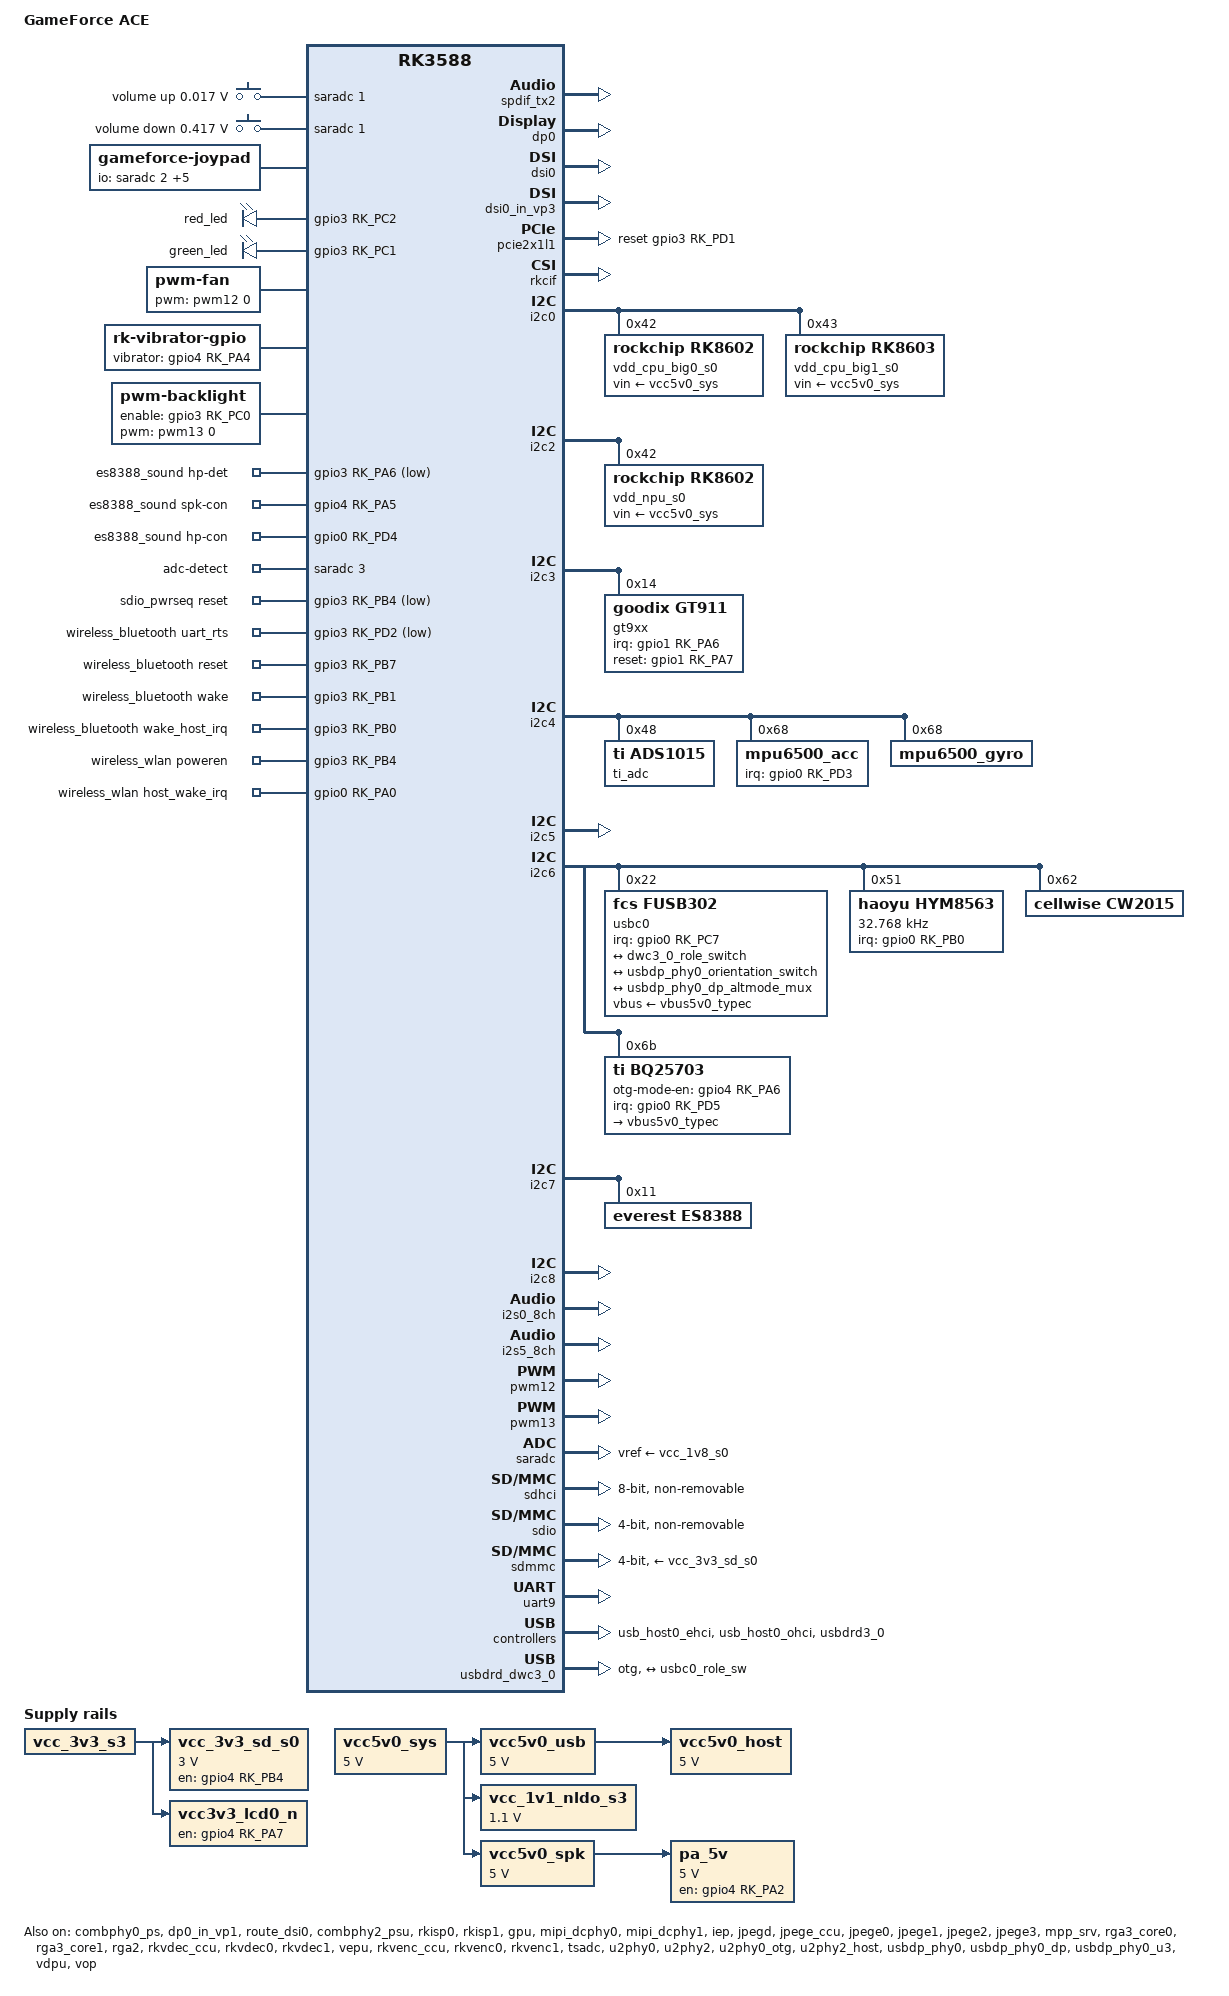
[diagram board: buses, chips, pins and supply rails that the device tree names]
// SPDX-License-Identifier: (GPL-2.0+ OR MIT)
/*
 * Copyright (c) 2021 Rockchip Electronics Co., Ltd.
 * Copyright (c) 2024 Romain Tisserand (https://github.com/rtissera)
 * Copyright (c) 2024 r3claimer (https://github.com/r3claimer)
 * Copyright (c) 2024 Juliano Dorigão (https://github.com/jdorigao)
 *
 */

/dts-v1/;

#include <dt-bindings/usb/pd.h>
#include <dt-bindings/gpio/gpio.h>
#include <dt-bindings/pwm/pwm.h>
#include <dt-bindings/pinctrl/rockchip.h>
#include <dt-bindings/input/rk-input.h>
#include <dt-bindings/display/drm_mipi_dsi.h>
#include <dt-bindings/display/rockchip_vop.h>
#include <dt-bindings/sensor-dev.h>
#include "rockchip/rk3588s.dtsi"
#include "rockchip/rk3588-linux.dtsi"
#include "rockchip/rk3588-rk806-single.dtsi"
#include "rockchip/lcd-hx8399c_mipi.dtsi"

/ {
	model = "GameForce ACE";
	compatible = "gameforce,ace", "rockchip,rk3588";

	adc_keys: adc-keys {
		compatible = "adc-keys";
		io-channels = <&saradc 1>;
		io-channel-names = "buttons";
		keyup-threshold-microvolt = <1800000>;
		poll-interval = <100>;

		vol-up-key {
			label = "volume up";
			linux,code = <KEY_VOLUMEUP>;
			press-threshold-microvolt = <17000>;
		};

		vol-down-key {
			label = "volume down";
			linux,code = <KEY_VOLUMEDOWN>;
			press-threshold-microvolt = <417000>;
		};
	};

	joypad: gameforce-ace-joypad {
		compatible = "gameforce-joypad";
		poll-interval = <10>;
		status = "okay";

		joypad-name = "GameForce ACE Gamepad";
		joypad-product = <0x1000>;
		joypad-revision = <0x0100>;

		/* Analog sticks */
		io-channels = <&saradc 2>, <&saradc 3>, <&saradc 4>, <&saradc 5>, <&ti_adc 6>, <&ti_adc 7>;
		io-channel-names = "key-RY", "key-RX", "key-X", "key-Y", "key-Z", "key-RZ";
		button-adc-scale = <4>;
		button-adc-deadzone = <125>;
		button-adc-fuzz = <32>;
		button-adc-flat = <32>;
		abs_x-p-tuning = <350>;
		abs_x-n-tuning = <350>;
		abs_y-p-tuning = <350>;
		abs_y-n-tuning = <350>;
		abs_z-p-tuning = <350>;
		abs_z-n-tuning = <350>;
		abs_rx-p-tuning = <350>;
		abs_rx-n-tuning = <350>;
		abs_ry-p-tuning = <350>;
		abs_ry-n-tuning = <350>;
		abs_rz-p-tuning = <350>;
		abs_rz-n-tuning = <350>;

		/* Buttons */
		sw1 {
			gpios = <&gpio1 RK_PA0 0x01>;
			label = "GPIO Key MODE";
			linux,code = <BTN_MODE>;
		};
		sw2 {
			gpios = <&gpio1 RK_PB0 0x01>;
			label = "GPIO Key HOME";
			linux,code = <BTN_C>;
		};
		sw3 {
			gpios = <&gpio1 RK_PB6 0x01>;
			label = "GPIO Key START";
			linux,code = <BTN_START>;
		};
		sw4 {
			gpios = <&gpio1 RK_PA3 0x01>;
			label = "GPIO Key SELECT";
			linux,code = <BTN_SELECT>;
		};
		sw5 {
			gpios = <&gpio1 RK_PA2 0x01>;
			label = "GPIO Key Up";
			linux,code = <BTN_DPAD_UP>;
		};
		sw6 {
			gpios =  <&gpio1 RK_PB1 0x01>;
			label = "GPIO Key Down";
			linux,code = <BTN_DPAD_DOWN>;
		};
		sw7 {
			gpios = <&gpio1 RK_PD7 0x01>;
			label = "GPIO Key Left";
			linux,code = <BTN_DPAD_LEFT>;
		};
		sw8 {
			gpios = <&gpio1 RK_PB7 0x01>;
			label = "GPIO Key Right";
			linux,code = <BTN_DPAD_RIGHT>;
		};
		sw9 {
			gpios = <&gpio1 RK_PB4 0x01>;
			label = "GPIO Key X";
			linux,code = <BTN_NORTH>;
		};
		sw10 {
			gpios = <&gpio1 RK_PB3 0x01>;
			label = "GPIO Key Y";
			linux,code = <BTN_WEST>;
		};
		sw11 {
			gpios = <&gpio1 RK_PC6 0x01>;
			label = "GPIO Key B";
			linux,code = <BTN_EAST>;
		};
		sw12 {
			gpios = <&gpio1 RK_PA5 0x01>;
			label = "GPIO Key A";
			linux,code = <BTN_SOUTH>;
		};
		sw13 {
			gpios = <&gpio1 RK_PA4 0x01>;
			label = "GPIO Key THU";
			linux,code = <BTN_THUMBL>;
		};
		sw14 {
			gpios = <&gpio1 RK_PB5 0x01>;
			label = "GPIO Key TL";
			linux,code = <BTN_TL>;
		};
		sw15 {
			gpios = <&gpio1 RK_PB2 0x01>;
			label = "GPIO Key TR";
			linux,code = <BTN_TR>;
		};
		sw16 {
			gpios = <&gpio1 RK_PD6 0x01>;
			label = "GPIO Key THUMBR";
			linux,code = <BTN_THUMBR>;
		};
	};

	leds: gpio-leds {
		compatible = "gpio-leds";
		pinctrl-names = "default";
		pinctrl-0 =<&leds_rgb>;
		status = "okay";

		red_led@1 {
			gpios = <&gpio3 RK_PC2 GPIO_ACTIVE_HIGH>;
			label = "red_led";
			linux,default-trigger = "cw2015-battery-charging";
			linux,default-trigger-delay-ms = <0>;
		};

		green_led@2 {
			gpios = <&gpio3 RK_PC1 GPIO_ACTIVE_HIGH>;
			label = "green_led";
			linux,default-trigger = "cw2015-battery-full";
			linux,default-trigger-delay-ms = <0>;
		};
	};

	fan: pwm-fan {
		compatible = "pwm-fan";
		#cooling-cells = <2>;
		pwms = <&pwm12 0 50000 1>;
		cooling-levels = <0 100 150 200 255>;
		rockchip,temp-trips = <
			40000	1
			55000	2
			60000	3
			70000	4
		>;
		status = "okay";
	};

	vibrator {
		compatible = "rk-vibrator-gpio";
		vibrator-gpio = <&gpio4 RK_PA4 GPIO_ACTIVE_HIGH>;
		status = "okay";
	};

	hdmi0_sound: hdmi0-sound {
		status = "disabled";
		compatible = "rockchip,hdmi";
		rockchip,mclk-fs = <128>;
		rockchip,card-name = "rockchip-hdmi0";
		rockchip,cpu = <&i2s5_8ch>;
		rockchip,codec = <&hdmi0>;
		rockchip,jack-det;
	};

	dp0_sound: dp0-sound {
		status = "disabled";
		compatible = "rockchip,hdmi";
		rockchip,card-name= "rockchip-dp0";
		rockchip,mclk-fs = <512>;
		rockchip,cpu = <&spdif_tx2>;
		rockchip,codec = <&dp0 1>;
		rockchip,jack-det;
	};

	backlight: backlight {
		compatible = "pwm-backlight";
		pwms = <&pwm13 0 25000 1>;
		brightness-levels = <
			 0   1   2   3   4   5   6   7
			 8   9  10  11  12  13  14  15
			16  17  18  19  20  21  22  23
			24  25  26  27  28  29  30  31
			32  33  34  35  36  37  38  39
			40  41  42  43  44  45  46  47
			48  49  50  51  52  53  54  55
			56  57  58  59  60  61  62  63
			64  65  66  67  68  69  70  71
			72  73  74  75  76  77  78  79
			80  81  82  83  84  85  86  87
			88  89  90  91  92  93  94  95
			96  97  98  99 100 101 102 103
			104 105 106 107 108 109 110 111
			112 113 114 115 116 117 118 119
			120 121 122 123 124 125 126 127
			128 129 130 131 132 133 134 135
			136 137 138 139 140 141 142 143
			144 145 146 147 148 149 150 151
			152 153 154 155 156 157 158 159
			160 161 162 163 164 165 166 167
			168 169 170 171 172 173 174 175
			176 177 178 179 180 181 182 183
			184 185 186 187 188 189 190 191
			192 193 194 195 196 197 198 199
			200 201 202 203 204 205 206 207
			208 209 210 211 212 213 214 215
			216 217 218 219 220 221 222 223
			224 225 226 227 228 229 230 231
			232 233 234 235 236 237 238 239
			240 241 242 243 244 245 246 247
			248 249 250 251 252 253 254 255>;
		default-brightness-level = <200>;
		enable-gpios = <&gpio3 RK_PC0 GPIO_ACTIVE_HIGH>;
		pinctrl-names = "default";
		pinctrl-0 = <&lcd_bl_en>;

	};

	charge-animation {
		compatible = "rockchip,uboot-charge";
		rockchip,uboot-charge-on = <0>;
		rockchip,android-charge-on = <1>;
		rockchip,uboot-low-power-voltage = <6800>;
		rockchip,screen-on-voltage = <6900>;
		rockchip,uboot-exit-charge-level = <2>;
		rockchip,uboot-exit-charge-auto = <0>;
		rockchip,system-suspend = <1>;
		regulator-on-in-mem = <&vdd_log_s0>, <&vcc_2v0_pldo_s3>,
			<&vdd2_ddr_s3>, <&vcc_1v8_s3>, <&avcc_1v8_s0>,
			<&vcc_1v8_s0>, <&vdd_0v75_s3>, <&pldo6_s3>,
			<&vcc_3v3_s3>;

		regulator-off-in-mem = <&vdd_gpu_s0>, <&vdd_npu_s0>,
			<&vdd_vdenc_s0>, <&vdd_gpu_mem_s0>, <&vdd_npu_mem_s0>,
			<&vdd_vdenc_mem_s0>, <&vcc_3v3_s0>,
			<&vccio_sd_s0>, <&avdd_0v75_s0>, <&vdd_0v85_s0>,
			<&vdd_cpu_big1_s0>, <&vdd_cpu_big0_s0>, <&vdd_cpu_lit_s0>,
			<&vdd_cpu_big1_mem_s0>, <&vdd_cpu_big0_mem_s0>, <&vdd_cpu_lit_mem_s0>,
			<&vddq_ddr_s0>, <&vdd_ddr_s0>, <&vdd_ddr_pll_s0>,
			<&avdd_1v2_s0>, <&vdd_0v75_s0>;
		status = "okay";
	};

	es8388_sound: es8388-sound {
		status = "okay";
		compatible = "rockchip,multicodecs-card","everest,es8388";
		rockchip,card-name = "rockchip,es8388-codec";
		hp-det-gpio = <&gpio3 RK_PA6 GPIO_ACTIVE_LOW>;
		io-channels = <&saradc 3>;
		io-channel-names = "adc-detect";
		keyup-threshold-microvolt = <1800000>;
		poll-interval = <100>;
		spk-con-gpio = <&gpio4 RK_PA5 GPIO_ACTIVE_HIGH>;
		hp-con-gpio = <&gpio0 RK_PD4 GPIO_ACTIVE_HIGH>;
		rockchip,format = "i2s";
		rockchip,mclk-fs = <256>;
		rockchip,cpu = <&i2s0_8ch>;
		rockchip,codec = <&es8388>;
		spk-volume = <50>;
		spk-volume-l = <50>;
		spk-volume-r = <50>;
        use-ext-amplifier;
		hp-volume = <20>;
		out-l2spk-r2hp;

		rockchip,audio-routing =
			"Headphone", "LOUT1",
			"Headphone", "ROUT1",
			"Speaker", "LOUT2",
			"Speaker", "ROUT2",
			"Headphone", "Headphone Power",
			"Headphone", "Headphone Power",
			"Speaker", "Speaker Power",
			"Speaker", "Speaker Power",
			"LINPUT1", "Main Mic",
			"LINPUT2", "Main Mic",
			"RINPUT1", "Headset Mic",
			"RINPUT2", "Headset Mic";

		pinctrl-names = "default";
		pinctrl-0 = <&hp_det>;
		play-pause-key {
			label = "playpause";
			linux,code = <KEY_PLAYPAUSE>;
			press-threshold-microvolt = <2000>;
		};
	};

	sdio_pwrseq: sdio-pwrseq {
		compatible = "mmc-pwrseq-simple";
		clocks = <&hym8563>;
		clock-names = "ext_clock";
		pinctrl-names = "default";
		pinctrl-0 = <&wifi_enable_h>;
		/*
		 * On the module itself this is one of these (depending
		 * on the actual card populated):
		 * - SDIO_RESET_L_WL_REG_ON
		 * - PDN (power down when low)
		 */
		reset-gpios = <&gpio3 RK_PB4 GPIO_ACTIVE_LOW>;
	};

	vcc5v0_sys: vcc5v0-sys {
		compatible = "regulator-fixed";
		regulator-name = "vcc5v0_sys";
		regulator-always-on;
		regulator-boot-on;
		regulator-min-microvolt = <5000000>;
		regulator-max-microvolt = <5000000>;
	};

	vcc5v0_usb: vcc5v0-usb {
		compatible = "regulator-fixed";
		regulator-name = "vcc5v0_usb";
		regulator-always-on;
		regulator-boot-on;
		regulator-min-microvolt = <5000000>;
		regulator-max-microvolt = <5000000>;
		enable-active-high;
		vin-supply = <&vcc5v0_sys>;
	};

	vcc_1v1_nldo_s3: vcc-1v1-nldo-s3 {
		compatible = "regulator-fixed";
		regulator-name = "vcc_1v1_nldo_s3";
		regulator-always-on;
		regulator-boot-on;
		regulator-min-microvolt = <1100000>;
		regulator-max-microvolt = <1100000>;
		vin-supply = <&vcc5v0_sys>;
	};

	vcc_3v3_sd_s0: vcc-3v3-sd-s0-regulator {
		compatible = "regulator-fixed";
		enable-active-high;
		gpio = <&gpio4 RK_PB4 GPIO_ACTIVE_HIGH>;
		pinctrl-names = "default";
		pinctrl-0 = <&sd_s0_pwr>;
		regulator-always-on;
		regulator-max-microvolt = <3000000>;
		regulator-min-microvolt = <3000000>;
		regulator-name = "vcc_3v3_sd_s0";
		vin-supply = <&vcc_3v3_s3>;
	};

	vcc5v0_host: vcc5v0-host {
		compatible = "regulator-fixed";
		regulator-name = "vcc5v0_host";
		regulator-boot-on;
		regulator-always-on;
		regulator-min-microvolt = <5000000>;
		regulator-max-microvolt = <5000000>;
		enable-active-high;
		// gpio = <&gpio4 RK_PB5 GPIO_ACTIVE_HIGH>;
		vin-supply = <&vcc5v0_usb>;
		// pinctrl-names = "default";
		// pinctrl-0 = <&vcc5v0_host_en>;
	};

	vcc5v0_spk: vcc5v0-spk {
		compatible = "regulator-fixed";
		regulator-name = "vcc5v0_spk";
		regulator-always-on;
		regulator-boot-on;
		regulator-min-microvolt = <5000000>;
		regulator-max-microvolt = <5000000>;
		enable-active-high;
		vin-supply = <&vcc5v0_sys>;
	};

	vcc3v3_lcd0_n: vcc3v3-lcd0-n {
		compatible = "regulator-fixed";
		regulator-name = "vcc3v3_lcd0_n";
		regulator-boot-on;
		enable-active-high;
		gpio = <&gpio4 RK_PA7 GPIO_ACTIVE_HIGH>;
		vin-supply = <&vcc_3v3_s3>;
	};

	pa_5v: pa-5v {
		compatible = "regulator-fixed";
		regulator-name = "pa_5v";
		regulator-boot-on;
		regulator-always-on;
		regulator-min-microvolt = <5000000>;
		regulator-max-microvolt = <5000000>;
		enable-active-high;
		gpio = <&gpio4 RK_PA2 GPIO_ACTIVE_HIGH>;
		vin-supply = <&vcc5v0_spk>;
		pinctrl-names = "default";
		pinctrl-0 = <&pa_5v_en>;
	};

	// vcc_mipidcphy: vcc-mipidcphy-regulator {
	// 	compatible = "regulator-fixed";
	// 	gpio = <&gpio1 RK_PA4 GPIO_ACTIVE_HIGH>;
	// 	pinctrl-names = "default";
	// 	pinctrl-0 = <&mipidcphy_pwr>;
	// 	regulator-name = "vcc_mipidcphy";
	// 	enable-active-high;
	// 	regulator-boot-on;
	// 	vin-supply = <&vcc_3v3_s3>;
	// 	status = "okay";
	// };

	wireless_bluetooth: wireless-bluetooth {
		compatible = "bluetooth-platdata";
		clocks = <&hym8563>;
		clock-names = "ext_clock";
		uart_rts_gpios = <&gpio3 RK_PD2 GPIO_ACTIVE_LOW>;
		pinctrl-names = "default", "rts_gpio";
		pinctrl-0 = <&uart9m2_rtsn>, <&bt_reset_gpio>, <&bt_wake_gpio>, <&bt_wake_host_irq>;
		pinctrl-1 = <&uart9_gpios>;
		BT,reset_gpio    = <&gpio3 RK_PB7 GPIO_ACTIVE_HIGH>;
		BT,wake_gpio     = <&gpio3 RK_PB1 GPIO_ACTIVE_HIGH>;
		BT,wake_host_irq = <&gpio3 RK_PB0 GPIO_ACTIVE_HIGH>;
		status = "okay";
	};

	wireless_wlan: wireless-wlan {
		compatible = "wlan-platdata";
		wifi_chip_type = "ap6256";
		pinctrl-names = "default";
		pinctrl-0 = <&wifi_host_wake_irq>;
		WIFI,poweren_gpio = <&gpio3 RK_PB4 GPIO_ACTIVE_HIGH>;
		WIFI,host_wake_irq = <&gpio0 RK_PA0 GPIO_ACTIVE_HIGH>;
		status = "okay";
	};
};

&av1d_mmu {
	status = "okay";
};

&combphy0_ps {
	status = "okay";
};

&cpu_l0 {
	cpu-supply = <&vdd_cpu_lit_s0>;
	mem-supply = <&vdd_cpu_lit_mem_s0>;
};

&cpu_b0 {
	cpu-supply = <&vdd_cpu_big0_s0>;
	mem-supply = <&vdd_cpu_big0_mem_s0>;
};

&cpu_b2 {
	cpu-supply = <&vdd_cpu_big1_s0>;
	mem-supply = <&vdd_cpu_big1_mem_s0>;
};

&hdmi0 {
    enable-gpios = <&gpio4 RK_PB3 GPIO_ACTIVE_HIGH>;
    status = "disabled";
};

&hdmi0_in_vp0 {
    status = "disabled";
};

&hdmi0_sound {
    status = "disabled";
};

&hdptxphy_hdmi0 {
    status = "disabled";
};

&route_hdmi0 {
    status = "disabled";
    connect = <&vp0_out_hdmi0>;
};

&spdif_tx2{
    status = "okay";
};

&dp0_sound{
    status = "disabled";
};

&dp0 {
    status = "okay";
};

&dp0_in_vp1 {
    status = "okay";
};

&dsi0 {
	status = "okay";
};

&dsi0_in_vp3 {
	status = "okay";
};

&route_dsi0 {
	status = "okay";
};

&dsi0_panel {
	power-supply = <&vcc3v3_lcd0_n>;
	reset-gpios = <&gpio1 RK_PD5 GPIO_ACTIVE_LOW>;
	pinctrl-names = "default";
	pinctrl-0 = <&lcd_rst_gpio>;
};

&pcie2x1l1 {
	reset-gpios = <&gpio3 RK_PD1 GPIO_ACTIVE_HIGH>;
	status = "okay";
};

&combphy2_psu {
        status = "okay";
};

&csi2_dphy0_hw {
	status = "disabled";
};

&csi2_dcphy0 {
	status = "disabled";
};

&mipi0_csi2 {
	status = "disabled";
};

&rkcif_mipi_lvds {
	status = "disabled";
};

&rkcif_mipi_lvds_sditf {
	status = "disabled";
};

&rkisp0_vir0 {
	status = "disabled";
};

&csi2_dcphy1 {
	status = "disabled";
};

&mipi1_csi2{
	status = "disabled";
};

&rkcif_mipi_lvds1 {
	status = "disabled";
};

&rkcif_mipi_lvds1_sditf {
	status = "disabled";
};


&rkisp0_vir1 {
	status = "disabled";
};

&csi2_dphy0 {
	status = "disabled";
};

&mipi2_csi2 {
	status = "disabled";
};

&rkcif_mipi_lvds2 {
	status = "disabled";
};

&rkcif_mipi_lvds2_sditf {
	status = "disabled";
};

&rkisp1_vir1 {
	status = "disabled";
};

&rkcif {
	status = "okay";
};

&rkcif_mmu {
	status = "okay";
};

&rkisp0 {
	status = "okay";
};

&rkisp1 {
	status = "okay";
};

&isp0_mmu {
	status = "okay";
};

&isp1_mmu {
	status = "okay";
};

&dp0 {
	status = "okay";

};
&dp0_in_vp1 {
	status = "okay";
};

&gpu {
	mali-supply = <&vdd_gpu_s0>;
	mem-supply = <&vdd_gpu_mem_s0>;
	upthreshold = <60>;
	downdifferential = <30>;
	status = "okay";
};

&hdptxphy0 {
	/* Single Vdiff Training Table for power reduction (optional) */
	training-table = /bits/ 8 <
		/* voltage swing 0, pre-emphasis 0->3 */
		0x0d 0x00 0x00 0x00 0x00 0x00
		0x0d 0x00 0x00 0x00 0x00 0x00
		0x0d 0x00 0x00 0x00 0x00 0x00
		0x0d 0x00 0x00 0x00 0x00 0x00
		/* voltage swing 1, pre-emphasis 0->2 */
		0x0d 0x00 0x00 0x00 0x00 0x00
		0x0d 0x00 0x00 0x00 0x00 0x00
		0x0d 0x00 0x00 0x00 0x00 0x00
		/* voltage swing 2, pre-emphasis 0->1 */
		0x0d 0x00 0x00 0x00 0x00 0x00
		0x0d 0x00 0x00 0x00 0x00 0x00
		/* voltage swing 3, pre-emphasis 0 */
		0x0d 0x00 0x00 0x00 0x00 0x00
	>;
	status = "disabled";
};

&i2c0 {
	status = "okay";
	pinctrl-names = "default";
	pinctrl-0 = <&i2c0m2_xfer>;

	vdd_cpu_big0_s0: vdd_cpu_big0_mem_s0: rk8602@42 {
		compatible = "rockchip,rk8602";
		reg = <0x42>;
		vin-supply = <&vcc5v0_sys>;
		regulator-compatible = "rk860x-reg";
		regulator-name = "vdd_cpu_big0_s0";
		regulator-min-microvolt = <550000>;
		regulator-max-microvolt = <1050000>;
		regulator-ramp-delay = <2300>;
		rockchip,suspend-voltage-selector = <1>;
		regulator-boot-on;
		regulator-always-on;
		regulator-state-mem {
			regulator-off-in-suspend;
		};
	};

	vdd_cpu_big1_s0: vdd_cpu_big1_mem_s0: rk8603@43 {
		compatible = "rockchip,rk8603";
		reg = <0x43>;
		vin-supply = <&vcc5v0_sys>;
		regulator-compatible = "rk860x-reg";
		regulator-name = "vdd_cpu_big1_s0";
		regulator-min-microvolt = <550000>;
		regulator-max-microvolt = <1050000>;
		regulator-ramp-delay = <2300>;
		rockchip,suspend-voltage-selector = <1>;
		regulator-boot-on;
		regulator-always-on;
		regulator-state-mem {
			regulator-off-in-suspend;
		};
	};
};

&i2c2 {
	status = "okay";

	vdd_npu_s0: vdd_npu_mem_s0: rk8602@42 {
		compatible = "rockchip,rk8602";
		reg = <0x42>;
		vin-supply = <&vcc5v0_sys>;
		regulator-compatible = "rk860x-reg";
		regulator-name = "vdd_npu_s0";
		regulator-min-microvolt = <550000>;
		regulator-max-microvolt = <950000>;
		regulator-ramp-delay = <2300>;
		rockchip,suspend-voltage-selector = <1>;
		regulator-boot-on;
		regulator-always-on;
		regulator-state-mem {
			regulator-off-in-suspend;
		};
	};
};

&i2c3 {
	pinctrl-names = "default";
	pinctrl-0 = <&i2c3m0_xfer>;
	status = "okay";

    gt9xx: touchscreen@14 {
		compatible = "goodix,gt911";
		reg = <0x14>;
		interrupt-parent = <&gpio1>;
		interrupts = <RK_PA6 IRQ_TYPE_LEVEL_LOW>;
		irq-gpios = <&gpio1 RK_PA6 IRQ_TYPE_LEVEL_LOW>;
		reset-gpios = <&gpio1 RK_PA7 GPIO_ACTIVE_HIGH>;
		touchscreen-size-x = <1080>;
		touchscreen-size-y = <1920>;
		status = "okay";
	};
};

&i2c4 {
	pinctrl-0 = <&i2c4m2_xfer>;
	status = "okay";

	ti_adc: adc@48 {
		compatible = "ti,ads1015";
		reg = <0x48>;
		#address-cells = <1>;
		#io-channel-cells = <1>;
		#size-cells = <0>;

		channel@4 {
			reg = <4>;
		};

		channel@5 {
			reg = <5>;
		};

		channel@6 {
			reg = <6>;
		};

		channel@7 {
			reg = <7>;
		};
	};

	mpu6500_acc: mpu_acc@68 {
		status = "okay";
		compatible = "mpu6500_acc";
		reg = <0x68>;
		irq-gpio = <&gpio0 RK_PD3 IRQ_TYPE_EDGE_RISING>;
		irq_enable = <0>;
		poll_delay_ms = <30>;
		type = <SENSOR_TYPE_ACCEL>;
		layout = <2>;
		// pinctrl-names = "default";
		// pinctrl-0 = <&mpu_en>;
	};

    mpu6500_gyro: mpu_gyro@68 {
		status = "okay";
		compatible = "mpu6500_gyro";
		reg = <0x68>;
		poll_delay_ms = <30>;
		type = <SENSOR_TYPE_GYROSCOPE>;
		layout = <1>;
	};
};


&i2c5 {
	status = "okay";
	pinctrl-names = "default";
	pinctrl-0 = <&i2c5m3_xfer>;
};

&i2c6 {
	status = "okay";
	pinctrl-names = "default";
	pinctrl-0 = <&i2c6m3_xfer>;

	usbc0: fusb302@22 {
		compatible = "fcs,fusb302";
		reg = <0x22>;
		interrupt-parent = <&gpio0>;
		interrupts = <RK_PC7 IRQ_TYPE_LEVEL_LOW>;
		// int-n-gpios = <&gpio0 RK_PC7 GPIO_ACTIVE_LOW>;
		pinctrl-names = "default";
		pinctrl-0 = <&usbc0_int>;
		vbus-supply = <&vbus5v0_typec>;
		charge-dev = <&bq25703>;
		status = "okay";
		ports {
			#address-cells = <1>;
			#size-cells = <0>;
			port@0 {
				reg = <0>;
				usbc0_role_sw: endpoint@0 {
					remote-endpoint = <&dwc3_0_role_switch>;
				};
			};
		};

		usb_con: connector {
			compatible = "usb-c-connector";
			label = "USB-C";
			data-role = "dual";
			power-role = "dual";
			try-power-role = "sink";
			op-sink-microwatt = <1000000>;
			sink-pdos =
				<PDO_FIXED(5000, 3000, PDO_FIXED_USB_COMM)
				 PDO_FIXED(9000, 3000, PDO_FIXED_USB_COMM)
				 PDO_FIXED(12000, 3000, PDO_FIXED_USB_COMM)>;
			source-pdos =
				<PDO_FIXED(5000, 3000, PDO_FIXED_USB_COMM)>;
			altmodes {
				#address-cells = <1>;
				#size-cells = <0>;

				altmode@0 {
					reg = <0>;
					svid = <0xff01>;
					vdo = <0xffffffff>;
				};
			};

			ports {
				#address-cells = <1>;
				#size-cells = <0>;
				port@0 {
					reg = <0>;
					usbc0_orien_sw: endpoint {
						remote-endpoint = <&usbdp_phy0_orientation_switch>;
					};
				};
				port@1 {
					reg = <1>;
					dp_altmode_mux: endpoint {
						remote-endpoint = <&usbdp_phy0_dp_altmode_mux>;
					};
				};
			};
		};
	};

	hym8563: hym8563@51 {
		compatible = "haoyu,hym8563";
		reg = <0x51>;
		#clock-cells = <0>;
		clock-frequency = <32768>;
		clock-output-names = "hym8563";
		pinctrl-names = "default";
		pinctrl-0 = <&rtc_int>;
		interrupt-parent = <&gpio0>;
		interrupts = <RK_PB0 IRQ_TYPE_LEVEL_LOW>;
		wakeup-source;
	};

	cw2015@62 {
		status = "okay";
		compatible = "cellwise,cw2015";
		reg = <0x62>;

		cellwise,battery-profile = /bits/ 8
			<0x18 0x0A 0x76 0x6A 0x6A 0x6A 0x68 0x66
			 0x62 0x5E 0x5A 0x58 0x5F 0x59 0x46 0x3D
			 0x35 0x2D 0x28 0x21 0x29 0x38 0x44 0x50
			 0x1A 0x85 0x07 0xAE 0x14 0x28 0x48 0x56
			 0x66 0x66 0x66 0x6A 0x3E 0x1A 0x6C 0x3D
			 0x09 0x38 0x1A 0x49 0x7B 0x96 0xA2 0x15
			 0x3B 0x77 0x9A 0xB1 0x80 0x87 0xB0 0xCB
			 0x2F 0x00 0x64 0xA5 0xB5 0x1C 0xF0 0x49>;
		cellwise,dual-cell = <1>;
		cellwise,monitor-interval-ms = <5000>;
		power-supplies = <&bq25703>;
	};

	bq25703: bq25703@6b {
		status = "okay";
		compatible = "ti,bq25703";
		reg = <0x6b>;
		ti,usb-charger-detection = <&usbc0>;

		interrupt-parent = <&gpio0>;
		//interrupts = <RK_PB7 IRQ_TYPE_LEVEL_LOW>;
		interrupts = <RK_PD5 IRQ_TYPE_EDGE_FALLING>;
		otg-mode-en-gpios = <&gpio4 RK_PA6 GPIO_ACTIVE_HIGH>;
		pinctrl-names = "default";
		pinctrl-0 = <&charger_ok>;
		extcon = <&u2phy0>;
		ti,charge-current = <2500000>;
		ti,max-input-voltage = <20000000>;
		ti,max-input-current = <60000000>;
		ti,max-charge-voltage = <8750000>;
		ti,input-current = <10000000>;
		ti,input-current-sdp = <5000000>;
		ti,input-current-dcp = <2500000>;
		ti,input-current-cdp = <2500000>;
		ti,minimum-sys-voltage = <7400000>;
		ti,otg-voltage = <5000000>;
		ti,otg-current = <1500000>;
		pd-charge-only = <0>;
		regulators {
			vbus5v0_typec: vbus5v0-typec {
				regulator-compatible = "otg-vbus";
				regulator-name = "vbus5v0_typec";
			};
		};
	};
};

&i2c7 {
	status = "okay";
	pinctrl-names = "default";
	pinctrl-0 = <&i2c7m0_xfer>;
	es8388: es8388@11 {
		status = "okay";
		#sound-dai-cells = <0>;
		compatible = "everest,es8388", "everest,es8323";
		reg = <0x11>;
		clocks = <&mclkout_i2s0>;
		clock-names = "mclk";
		assigned-clocks = <&mclkout_i2s0>;
		assigned-clock-rates = <12288000>;
		pinctrl-names = "default";
		pinctrl-0 = <&i2s0_mclk>;
	};
};

&i2c8 {
	status = "okay";
	pinctrl-names = "default";
	pinctrl-0 = <&i2c8m2_xfer>;

};
&i2s0_8ch {
	status = "okay";
	//rockchip,clk-trcm = <1>;
	pinctrl-0 = <&i2s0_lrck
		     &i2s0_sclk
		     &i2s0_sdi0
		     &i2s0_sdo0>;
};

&i2s5_8ch {
	status = "okay";
};

&mipi_dcphy0 {
	status = "okay";
};

&mipi_dcphy1 {
	status = "okay";
};

&iep {
	status = "okay";
};

&iep_mmu {
	status = "okay";
};

&jpegd {
	status = "okay";
};

&jpegd_mmu {
	status = "okay";
};

&jpege_ccu {
	status = "okay";
};

&jpege0 {
	status = "okay";
};

&jpege0_mmu {
	status = "okay";
};

&jpege1 {
	status = "okay";
};

&jpege1_mmu {
	status = "okay";
};

&jpege2 {
	status = "okay";
};

&jpege2_mmu {
	status = "okay";
};

&jpege3 {
	status = "okay";
};

&jpege3_mmu {
	status = "okay";
};

&sata0 {
         status = "disabled";
};

&sata2 {
         status = "disabled";
};

&mpp_srv {
	status = "okay";
};

&pdm0 {
	rockchip,path-map = <2 0 1 3>;
	status = "disabled";
};


&pinctrl {

	leds_gpio {
		leds_rgb: leds-rgb {
		        rockchip,pins = <3 RK_PC2 RK_FUNC_GPIO &pcfg_pull_up>,
					<3 RK_PC1 RK_FUNC_GPIO &pcfg_pull_up>;
		};
	};

	charger {
		charger_ok: charger_ok {
			rockchip,pins = <0 RK_PD5 RK_FUNC_GPIO &pcfg_pull_up>;
		};
	};

	spk {
		pa_5v_en: pa-5v-en {
			rockchip,pins = <4 RK_PA2 RK_FUNC_GPIO &pcfg_pull_up>;
		};
	};

	// hdmi0 {
	// 	hdmi0_en: hdmi0-en {
	// 		rockchip,pins = <4 RK_PB3 RK_FUNC_GPIO &pcfg_pull_down>;
	// 	};
	// };

	headphone {
		hp_det: hp-det {
			rockchip,pins = <3 RK_PA6 RK_FUNC_GPIO &pcfg_pull_none>;
		};
	};

	// mpuen {
	// 	mpu_en: mpu_en {
	// 		rockchip,pins = <3 RK_PC3 RK_FUNC_GPIO &pcfg_pull_up>;
	// 	};
	// };

	hym8563 {
		rtc_int: rtc-int {
			rockchip,pins = <0 RK_PB0 RK_FUNC_GPIO &pcfg_pull_up>;
		};
	};

	sdio-pwrseq {
		wifi_enable_h: wifi-enable-h {
			rockchip,pins = <3 RK_PB4 RK_FUNC_GPIO &pcfg_pull_up>;
		};
	};

	sdmmc {
		sd_s0_pwr: sd-s0-pwr {
			rockchip,pins = <4 RK_PB4 RK_FUNC_GPIO &pcfg_pull_up>;
		};
	};

	lcd_bl_en {
		lcd_bl_en: lcd-bl-en {
			rockchip,pins = <3 RK_PC0 RK_FUNC_GPIO &pcfg_pull_none>;
		};
	};

	lcd_rst_gpio {
		lcd_rst_gpio: lcd-rst-gpio {
			rockchip,pins = <1 RK_PD5 RK_FUNC_GPIO &pcfg_pull_none>;
		};
	};

	sensor {
		mpu6500_irq_gpio: mpu6500-irq-gpio {
			rockchip,pins = <1 RK_PD3 RK_FUNC_GPIO &pcfg_pull_none>;
		};

		mh248_irq_gpio: mh248-irq-gpio {
			rockchip,pins = <0 RK_PD3 RK_FUNC_GPIO &pcfg_pull_up>;
		};
	};

	touch {
		touch_gpio: touch-gpio {
			rockchip,pins =
				<1 RK_PB5 RK_FUNC_GPIO &pcfg_pull_up>,
				<1 RK_PB4 RK_FUNC_GPIO &pcfg_pull_none>;
		};
	};

	usb {
		vcc5v0_host_en: vcc5v0-host-en {
			rockchip,pins = <4 RK_PB5 RK_FUNC_GPIO &pcfg_pull_none>;
		};
	};

	usb-typec {
		usbc0_int: usbc0-int {
			rockchip,pins = <0 RK_PC7 RK_FUNC_GPIO &pcfg_pull_up>;
		};
	};

	wireless-bluetooth {
		uart9_gpios: uart9-gpios {
			rockchip,pins = <3 RK_PD2 RK_FUNC_GPIO &pcfg_pull_none>;
		};

		bt_reset_gpio: bt-reset-gpio {
			rockchip,pins = <3 RK_PB7 RK_FUNC_GPIO &pcfg_pull_none>;
		};

		bt_wake_gpio: bt-wake-gpio {
			rockchip,pins = <3 RK_PB1 RK_FUNC_GPIO &pcfg_pull_up>;
		};

		bt_wake_host_irq: bt-wake-host-irq {
			rockchip,pins = <3 RK_PB0 RK_FUNC_GPIO &pcfg_pull_down>;
		};
	};

	wireless-wlan {
		wifi_host_wake_irq: wifi-host-wake-irq {
			rockchip,pins = <0 RK_PA0 RK_FUNC_GPIO &pcfg_pull_down>;
		};

		wifi_poweren_gpio: wifi-poweren-gpio {
			rockchip,pins = <3 RK_PB4 RK_FUNC_GPIO &pcfg_pull_up>;
		};
	};
};

&pwm12 {
	status = "okay";
	pinctrl-names = "active";
	pinctrl-0 = <&pwm12m1_pins>;
};

&pwm13 {
	pinctrl-0 = <&pwm13m1_pins>;
	status = "okay";
};

&rga3_core0 {
	status = "okay";
};

&rga3_0_mmu {
	status = "okay";
};

&rga3_core1 {
	status = "okay";
};

&rga3_1_mmu {
	status = "okay";
};

&rga2 {
	status = "okay";
};

&rknpu {
	rknpu-supply = <&vdd_npu_s0>;
	mem-supply = <&vdd_npu_mem_s0>;
	status = "disabled";
};

&rknpu_mmu {
	status = "disabled";
};

&rkvdec_ccu {
	status = "okay";
};

&rkvdec0 {
	status = "okay";
};

&rkvdec0_mmu {
	status = "okay";
};

&rkvdec1 {
	status = "okay";
};

&rkvdec1_mmu {
	status = "okay";
};

&vepu {
	status = "okay";
};

&rkvenc_ccu {
	status = "okay";
};

&rkvenc0 {
	venc-supply = <&vdd_vdenc_s0>;
	mem-supply = <&vdd_vdenc_mem_s0>;
	status = "okay";
};

&rkvenc0_mmu {
	status = "okay";
};

&rkvenc1 {
	venc-supply = <&vdd_vdenc_s0>;
	mem-supply = <&vdd_vdenc_mem_s0>;
	status = "okay";
};

&rkvenc1_mmu {
	status = "okay";
};

&rockchip_suspend {
	status = "okay";
	rockchip,sleep-debug-en = <1>;
};

&saradc {
	status = "okay";
	vref-supply = <&vcc_1v8_s0>;
};

&sdhci {
	bus-width = <8>;
	no-sdio;
	no-sd;
	non-removable;
	max-frequency = <200000000>;
	mmc-hs400-1_8v;
	mmc-hs400-enhanced-strobe;
	status = "okay";
};

&sdio {
	max-frequency = <150000000>;
	no-sd;
	no-mmc;
	bus-width = <4>;
	disable-wp;
	cap-sd-highspeed;
	cap-sdio-irq;
	keep-power-in-suspend;
	mmc-pwrseq = <&sdio_pwrseq>;
	non-removable;
	pinctrl-names = "default";
	pinctrl-0 = <&sdiom1_pins>;
	sd-uhs-sdr104;
	status = "okay";
};

&sdmmc {
	max-frequency = <150000000>;
	no-sdio;
	no-mmc;
	bus-width = <4>;
	cap-mmc-highspeed;
	cap-sd-highspeed;
	disable-wp;
	sd-uhs-sdr104;
	vmmc-supply = <&vcc_3v3_sd_s0>;
	vqmmc-supply = <&vccio_sd_s0>;
	pinctrl-names = "default";
	pinctrl-0 = <&sdmmc_bus4 &sdmmc_clk &sdmmc_cmd &sdmmc_det>;
	status = "okay";
};

&tsadc {
	status = "okay";
};

&uart9 {
	status = "okay";
	pinctrl-names = "default";
	pinctrl-0 = <&uart9m2_xfer &uart9m2_ctsn>;
};

&u2phy0 {
	status = "okay";
};

&u2phy2 {
	status = "okay";
};

&u2phy0_otg {
	rockchip,typec-vbus-det;
	status = "okay";
};

&u2phy2_host {
	status = "okay";
	phy-supply = <&vcc5v0_host>;
};

&usb_host0_ehci {
	status = "okay";
};

&usb_host0_ohci {
	status = "okay";
};

&usbdp_phy0 {
	orientation-switch;
	svid = <0xff01>;
	sbu1-dc-gpios = <&gpio4 RK_PA0 GPIO_ACTIVE_HIGH>;
	sbu2-dc-gpios = <&gpio4 RK_PA1 GPIO_ACTIVE_HIGH>;
	status = "okay";
	port {
		#address-cells = <1>;
		#size-cells = <0>;
		usbdp_phy0_orientation_switch: endpoint@0 {
			reg = <0>;
			remote-endpoint = <&usbc0_orien_sw>;
		};

		usbdp_phy0_dp_altmode_mux: endpoint@1 {
			reg = <1>;
			remote-endpoint = <&dp_altmode_mux>;
		};
	};
};

&usbdp_phy0_dp {
	status = "okay";
};

&usbdp_phy0_u3 {
	status = "okay";
};

&usbdrd3_0 {
	status = "okay";
};

&usbdrd_dwc3_0 {
	dr_mode = "otg";
	status = "okay";

	usb-role-switch;
	port {
		#address-cells = <1>;
		#size-cells = <0>;
		dwc3_0_role_switch: endpoint@0 {
			reg = <0>;
			remote-endpoint = <&usbc0_role_sw>;
		};
	};
};

&usbhost3_0 {
	status = "disabled";
};

&usbhost_dwc3_0 {
	status = "disabled";
};

&vdpu {
	status = "okay";
};

&vdpu_mmu {
	status = "okay";
};

&vop {
	status = "okay";
};

&vop_mmu {
	status = "okay";
};

/* vp0 & vp1 splice for 8K output */
&vp0 {
	rockchip,plane-mask = <(1 << ROCKCHIP_VOP2_CLUSTER0 | 1 << ROCKCHIP_VOP2_ESMART0)>;
	rockchip,primary-plane = <ROCKCHIP_VOP2_ESMART0>;
};

&vp1 {
	rockchip,plane-mask = <(1 << ROCKCHIP_VOP2_CLUSTER1 | 1 << ROCKCHIP_VOP2_ESMART1)>;
	rockchip,primary-plane = <ROCKCHIP_VOP2_ESMART1>;
};

&vp2 {
	rockchip,plane-mask = <(1 << ROCKCHIP_VOP2_CLUSTER2 | 1 << ROCKCHIP_VOP2_ESMART2)>;
	rockchip,primary-plane = <ROCKCHIP_VOP2_ESMART2>;
};

&vp3 {
	rockchip,plane-mask = <(1 << ROCKCHIP_VOP2_CLUSTER3 | 1 << ROCKCHIP_VOP2_ESMART3)>;
	rockchip,primary-plane = <ROCKCHIP_VOP2_ESMART3>;
};
